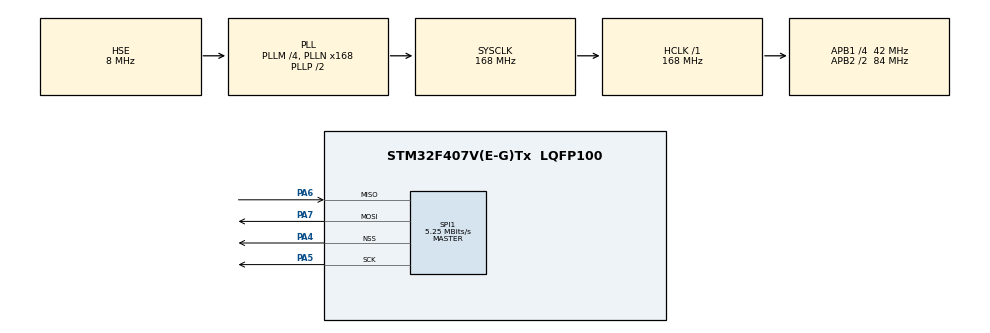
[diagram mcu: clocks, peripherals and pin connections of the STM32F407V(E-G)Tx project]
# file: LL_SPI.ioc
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Mcu.Family=STM32F4
Mcu.Name=STM32F407V(E-G)Tx
Mcu.Package=LQFP100
NVIC.PriorityGroup=NVIC_PRIORITYGROUP_4
PA4.Mode=NSS_Signal_Hard_Output
PA4.Signal=SPI1_NSS
PA5.Mode=Full_Duplex_Master
PA5.Signal=SPI1_SCK
PA6.Mode=Full_Duplex_Master
PA6.Signal=SPI1_MISO
PA7.Mode=Full_Duplex_Master
PA7.Signal=SPI1_MOSI
PH0-OSC_IN.Mode=HSE-External-Oscillator
PH0-OSC_IN.Signal=RCC_OSC_IN
PH1-OSC_OUT.Mode=HSE-External-Oscillator
PH1-OSC_OUT.Signal=RCC_OSC_OUT
ProjectManager.HeapSize=0x200
ProjectManager.StackSize=0x400
ProjectManager.TargetToolchain=STM32CubeIDE
RCC.48MHZClocksFreq_Value=84000000
RCC.AHBFreq_Value=168000000
RCC.APB1CLKDivider=RCC_HCLK_DIV4
RCC.APB1Freq_Value=42000000
RCC.APB1TimFreq_Value=84000000
RCC.APB2CLKDivider=RCC_HCLK_DIV2
RCC.APB2Freq_Value=84000000
RCC.APB2TimFreq_Value=168000000
RCC.CortexFreq_Value=168000000
RCC.HCLKFreq_Value=168000000
RCC.HSE_VALUE=8000000
RCC.HSI_VALUE=16000000
RCC.PLLM=4
RCC.PLLN=168
RCC.PLLSourceVirtual=RCC_PLLSOURCE_HSE
RCC.SYSCLKFreq_VALUE=168000000
RCC.SYSCLKSource=RCC_SYSCLKSOURCE_PLLCLK
RCC.VCOOutputFreq_Value=336000000
SPI1.BaudRatePrescaler=SPI_BAUDRATEPRESCALER_16
SPI1.CalculateBaudRate=5.25 MBits/s
SPI1.Direction=SPI_DIRECTION_2LINES
SPI1.Mode=SPI_MODE_MASTER
SPI1.VirtualNSS=VM_NSSHARD
SPI1.VirtualType=VM_MASTER
board=custom

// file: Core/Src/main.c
/* USER CODE BEGIN Header */
/**
  ******************************************************************************
  * @file           : main.c
  * @brief          : Main program body
  ******************************************************************************
  * @attention
  *
  * Copyright (c) 2023 STMicroelectronics.
  * All rights reserved.
  *
  * This software is licensed under terms that can be found in the LICENSE file
  * in the root directory of this software component.
  * If no LICENSE file comes with this software, it is provided AS-IS.
  *
  ******************************************************************************
  */
/* USER CODE END Header */
#include "main.h"
#include "spi.h"
#include "gpio.h"

void SystemClock_Config(void);

/* USER CODE BEGIN 0 */
void SPI_SendData(SPI_TypeDef *SPI, uint8_t *pData, size_t len){
	uint16_t temp;
	while(len>0){
		//verificar la bandera TXE
		//while(!(SPI->SR & SPI_SR_TXE));
		while(!LL_SPI_IsActiveFlag_TXE(SPI));

		//send
		if(READ_BIT(SPI->CR1, SPI_CR1_DFF)/*SPI->CR1 & SPI_CR1_DFF*/){//SET 16BIT DE DATOS
			//SPI->DR = *((uint16_t *)pData);
			LL_SPI_TransmitData16(SPI, *((uint16_t *)pData));
			pData += 2;
			len -=2;
			while(!(LL_SPI_IsActiveFlag_RXNE(SPI)));
			temp = SPI->DR;
		}else{
			LL_SPI_TransmitData8(SPI, *pData);
			len -= 1;
			pData++;
			while(!(LL_SPI_IsActiveFlag_RXNE(SPI)));
			temp = SPI->DR;
		}
	}
	(void)temp;
	while(LL_SPI_IsActiveFlag_BSY(SPI));
}

void SPI_ReceiveData(SPI_TypeDef *SPI, uint8_t *pData, size_t len){
	uint16_t temp = 0xFFFF;
	while(len>0){
		//verificar la bandera TXE
		//while(!(SPI->SR & SPI_SR_TXE));
		while(!LL_SPI_IsActiveFlag_TXE(SPI));

		//send
		if(READ_BIT(SPI->CR1, SPI_CR1_DFF)/*SPI->CR1 & SPI_CR1_DFF*/){//SET 16BIT DE DATOS
			//SPI->DR = *((uint16_t *)pData);
			LL_SPI_TransmitData16(SPI, temp);

			while(!(LL_SPI_IsActiveFlag_RXNE(SPI)));
			*((uint16_t*)pData) = SPI->DR;
			pData += 2;
			len -=2;
		}else{
			LL_SPI_TransmitData8(SPI, (uint8_t)temp );

			while(!(LL_SPI_IsActiveFlag_RXNE(SPI)));
			*pData = SPI->DR;
			len -= 1;
			pData++;
		}
	}
	(void)temp;
	while(LL_SPI_IsActiveFlag_BSY(SPI));
}
/* USER CODE END 0 */

int main(void)
{

  /* MCU Configuration--------------------------------------------------------*/

  /* Reset of all peripherals, Initializes the Flash interface and the Systick. */
  HAL_Init();

  /* Configure the system clock */
  SystemClock_Config();

  /* Initialize all configured peripherals */
  MX_GPIO_Init();
  MX_SPI1_Init();
  /* USER CODE BEGIN 2 */
  //SPI1->CR1 |= SPI_CR1_SPE;
  LL_SPI_Enable(SPI1);
  uint8_t test[4] = {0x1f, 0x2a, 0x3b, 0x45};

  SPI_SendData(SPI1, test, 4);
  SPI_ReceiveData(SPI1, test, 4);
  /* USER CODE END 2 */

  /* Infinite loop */
  while (1)
  {

  }
}

void SystemClock_Config(void)
{
  RCC_OscInitTypeDef RCC_OscInitStruct = {0};
  RCC_ClkInitTypeDef RCC_ClkInitStruct = {0};

  /** Configure the main internal regulator output voltage
  */
  __HAL_RCC_PWR_CLK_ENABLE();
  __HAL_PWR_VOLTAGESCALING_CONFIG(PWR_REGULATOR_VOLTAGE_SCALE1);

  /** Initializes the RCC Oscillators according to the specified parameters
  * in the RCC_OscInitTypeDef structure.
  */
  RCC_OscInitStruct.OscillatorType = RCC_OSCILLATORTYPE_HSE;
  RCC_OscInitStruct.HSEState = RCC_HSE_ON;
  RCC_OscInitStruct.PLL.PLLState = RCC_PLL_ON;
  RCC_OscInitStruct.PLL.PLLSource = RCC_PLLSOURCE_HSE;
  RCC_OscInitStruct.PLL.PLLM = 4;
  RCC_OscInitStruct.PLL.PLLN = 168;
  RCC_OscInitStruct.PLL.PLLP = RCC_PLLP_DIV2;
  RCC_OscInitStruct.PLL.PLLQ = 4;
  if (HAL_RCC_OscConfig(&RCC_OscInitStruct) != HAL_OK)
  {
    Error_Handler();
  }

  /** Initializes the CPU, AHB and APB buses clocks
  */
  RCC_ClkInitStruct.ClockType = RCC_CLOCKTYPE_HCLK|RCC_CLOCKTYPE_SYSCLK
                              |RCC_CLOCKTYPE_PCLK1|RCC_CLOCKTYPE_PCLK2;
  RCC_ClkInitStruct.SYSCLKSource = RCC_SYSCLKSOURCE_PLLCLK;
  RCC_ClkInitStruct.AHBCLKDivider = RCC_SYSCLK_DIV1;
  RCC_ClkInitStruct.APB1CLKDivider = RCC_HCLK_DIV4;
  RCC_ClkInitStruct.APB2CLKDivider = RCC_HCLK_DIV2;

  if (HAL_RCC_ClockConfig(&RCC_ClkInitStruct, FLASH_LATENCY_5) != HAL_OK)
  {
    Error_Handler();
  }
}

void Error_Handler(void)
{
  __disable_irq();
  while (1)
  {
  }
}
